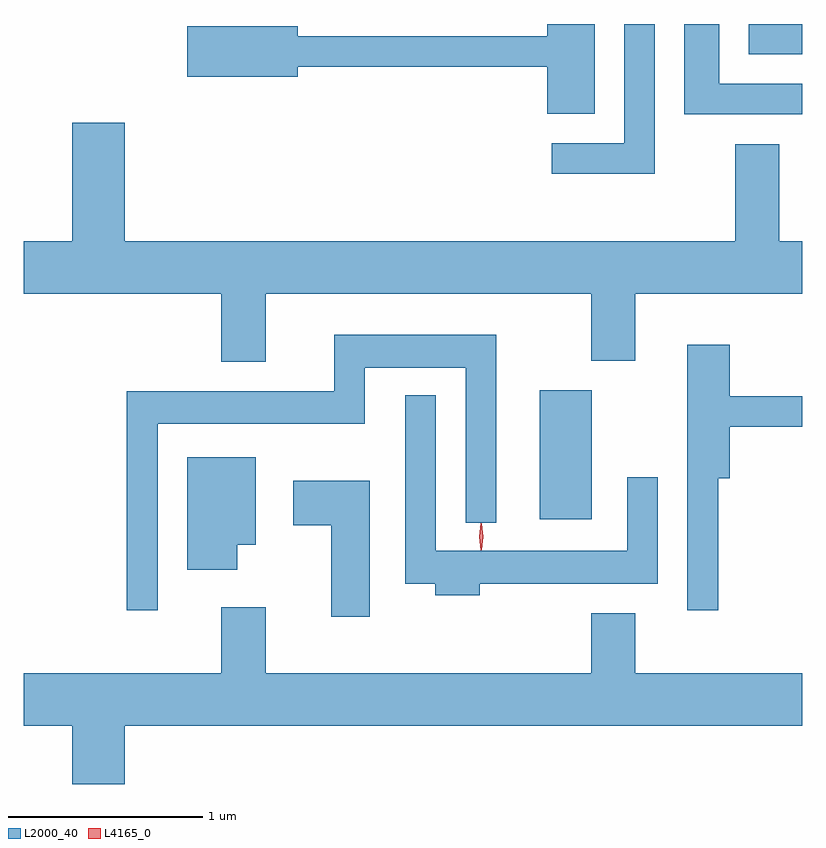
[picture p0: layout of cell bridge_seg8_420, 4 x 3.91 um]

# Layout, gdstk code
import gdstk
lib = gdstk.Library(unit=1e-6, precision=1e-09)
def R(c, l, rs):  # rectangles x0, y0, x1, y1
    for r in rs: c.add(gdstk.rectangle(r[:2], r[2:], *l))
def P(c, l, *ps):  # polygons
    for p in ps: c.add(gdstk.Polygon(p, *l))
L2000_40 = (2000, 40)
L4165_0 = (4165, 0)

bridge_seg8_420 = lib.new_cell('bridge_seg8_420')
R(bridge_seg8_420, L2000_40, [(876.816,1846.356,877.084,1847.019), (877.891,1848.746,878.166,1848.901)])
P(bridge_seg8_420, L2000_40, [(878.166,1848.594),(877.739,1848.594),(877.739,1848.901),(877.561,1848.901),(877.561,1848.436),(878.166,1848.436)],
  [(877.409,1848.901),(877.251,1848.901),(877.251,1848.289),(876.878,1848.289),(876.878,1848.131),(877.409,1848.131)],
  [(877.099,1848.901),(876.856,1848.901),(876.856,1848.839),(875.574,1848.839),(875.574,1848.889),(875.006,1848.889),(875.006,1848.631),(875.574,1848.631),(875.574,1848.681),(876.856,1848.681),(876.856,1848.441),(877.099,1848.441)],
  [(877.821,1848.284),(877.821,1847.784),(874.684,1847.784),(874.684,1848.394),(874.416,1848.394),(874.416,1847.784),(874.166,1847.784),(874.166,1847.516),(875.181,1847.516),(875.181,1847.166),(875.409,1847.166),(875.409,1847.516),(877.081,1847.516),(877.081,1847.171),(877.309,1847.171),(877.309,1847.516),(878.166,1847.516),(878.166,1847.784),(878.049,1847.784),(878.049,1848.284)],
  [(874.854,1846.846),(875.919,1846.846),(875.919,1847.136),(876.436,1847.136),(876.436,1846.338),(876.594,1846.338),(876.594,1847.304),(875.761,1847.304),(875.761,1847.014),(874.696,1847.014),(874.696,1845.888),(874.854,1845.888)],
  [(877.734,1846.566),(877.794,1846.566),(877.794,1846.831),(878.166,1846.831),(878.166,1846.989),(877.794,1846.989),(877.794,1847.254),(877.576,1847.254),(877.576,1845.888),(877.734,1845.888)],
  [(876.509,1846.026),(877.424,1846.026),(877.424,1846.573),(877.266,1846.573),(877.266,1846.194),(876.284,1846.194),(876.284,1846.993),(876.126,1846.993),(876.126,1846.026),(876.281,1846.026),(876.281,1845.966),(876.509,1845.966)],
  [(875.264,1846.226),(875.359,1846.226),(875.359,1846.674),(875.006,1846.674),(875.006,1846.096),(875.264,1846.096)],
  [(875.944,1846.554),(875.551,1846.554),(875.551,1846.326),(875.746,1846.326),(875.746,1845.856),(875.944,1845.856)],
  [(874.684,1845.296),(878.166,1845.296),(878.166,1845.564),(877.309,1845.564),(877.309,1845.874),(877.081,1845.874),(877.081,1845.564),(875.409,1845.564),(875.409,1845.904),(875.181,1845.904),(875.181,1845.564),(874.166,1845.564),(874.166,1845.296),(874.416,1845.296),(874.416,1844.996),(874.684,1844.996)])
P(bridge_seg8_420, L4165_0, [(876.515,1846.197),(876.506,1846.267),(876.515,1846.336),(876.516,1846.336),(876.516,1846.336),(876.526,1846.267),(876.516,1846.197),(876.516,1846.197)],
  [(876.518,1846.199),(876.517,1846.2),(876.508,1846.266),(876.517,1846.332),(876.518,1846.333),(876.518,1846.332),(876.528,1846.266),(876.518,1846.2)])

lib.write_gds('bridge_seg8_420.gds')
